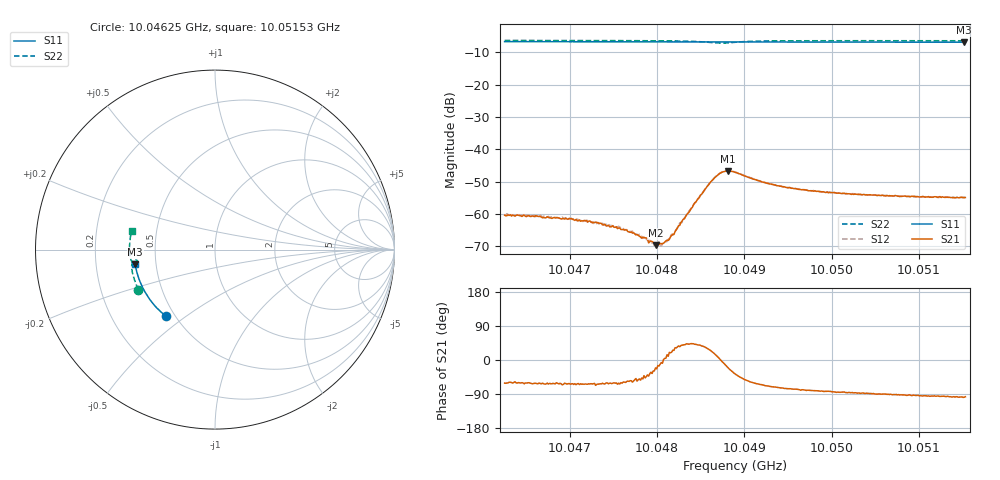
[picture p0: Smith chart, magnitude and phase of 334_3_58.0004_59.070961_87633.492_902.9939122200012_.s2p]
#  HZ  S  RI  R  50.00
! Rohde & Schwarz Vector Network Analyzer
! Rohde-Schwarz,ZNB20-2Port,1311601062101988,3.16
! Created: UTC 3/21/2024, 1:05:14 AM
! freq[Hz]  re:S11  im:S11  re:S21  im:S21  re:S12  im:S12  re:S22  im:S22
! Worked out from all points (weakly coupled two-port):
!   401 points, 10.04625 GHz to 10.05153 GHz, reference 50 ohm
!   highest |S21| = -46.71 dB at 10.04881 GHz (marker M1); lowest = -69.6 dB at 10.04798 GHz (marker M2)
!   lowest |S11| = -6.9 dB at 10.05152 GHz (marker M3), VSWR 2.65, Z = 19 - j3.9 ohm
!   |S11| at or under -10 dB: nowhere
!   |S22| runs from -7.2 to -6.4 dB; largest |S21 - S12| = 0.00032
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1.0046255e10  -0.2724 -0.3726  0.000463 -0.000835  0.000539 -0.000815  -0.4266 -0.2223
1.0046637e10  -0.292 -0.3562  0.00042 -0.000813  0.000488 -0.000785  -0.4373 -0.1991
1.0046927e10  -0.3062 -0.3433  0.000366 -0.000765  0.000451 -0.000734  -0.4445 -0.1807
1.0047139e10  -0.316 -0.3336  0.000343 -0.000703  0.000411 -0.000701  -0.4492 -0.1671
1.0047323e10  -0.3246 -0.3248  0.000328 -0.000654  0.000386 -0.000634  -0.4532 -0.1548
1.0047587e10  -0.3362 -0.312  0.000288 -0.000496  0.000337 -0.000509  -0.4582 -0.1369
1.0047864e10  -0.3479 -0.2979  0.00029 -0.000313  0.000325 -0.000293  -0.4621 -0.1172
1.0047983e10  -0.3528 -0.2917  0.000308 -0.000117  0.000335 -0.000117  -0.4632 -0.1083
1.0048023e10  -0.3543 -0.2894  0.000321 -9.13e-05  0.000363 -7.55e-05  -0.4635 -0.1051
1.0048075e10  -0.3565 -0.2867  0.000353 9.85e-06  0.00036 2e-05  -0.4639 -0.101
1.0048168e10  -0.3601 -0.282  0.000436 0.000164  0.000435 0.000215  -0.4642 -0.0936
1.0048207e10  -0.3617 -0.2798  0.000452 0.000288  0.00045 0.000291  -0.4642 -0.0903
1.0048445e10  -0.3706 -0.267  0.00115 0.00101  0.00108 0.00109  -0.459 -0.0684
1.0048643e10  -0.3776 -0.256  0.00321 0.00115  0.00318 0.00138  -0.4404 -0.0576
1.0048735e10  -0.3808 -0.2511  0.00435 -9.92e-05  0.00437 0.000196  -0.4319 -0.0652
1.0048814e10  -0.3833 -0.2467  0.00433 -0.00159  0.00447 -0.00137  -0.4348 -0.0747
1.0048893e10  -0.386 -0.2424  0.00355 -0.00261  0.00373 -0.00243  -0.4443 -0.0782
1.0049289e10  -0.3989 -0.2197  0.00101 -0.00273  0.0012 -0.0027  -0.4704 -0.0499
1.0049777e10  -0.4127 -0.1908  0.000373 -0.00225  0.000482 -0.00222  -0.4762 -0.0122
1.0050661e10  -0.4324 -0.1363  -3.69e-05 -0.00192  8.43e-05 -0.00189  -0.4742 0.0491
1.0051519e10  -0.4446 -0.0815  -0.000258 -0.00177  -0.000156 -0.00181  -0.4643 0.1054
1.0051532e10  -0.445 -0.0807  -0.000218 -0.00178  -0.000161 -0.00177  -0.464 0.1063
